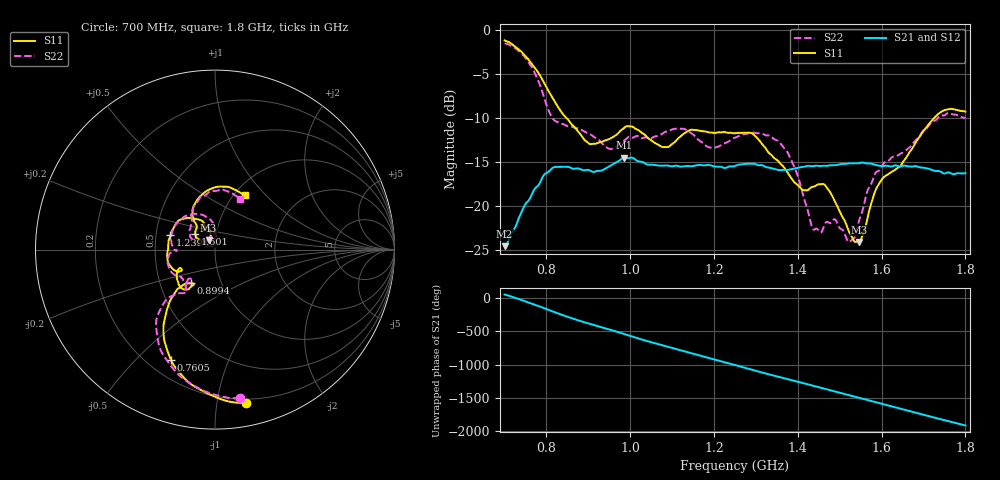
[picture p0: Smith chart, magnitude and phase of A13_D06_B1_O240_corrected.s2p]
! Created with skrf 1.9.0 (http://scikit-rf.org).
# Hz S RI R 50.0
!freq ReS11 ImS11 ReS21 ImS21 ReS12 ImS12 ReS22 ImS22
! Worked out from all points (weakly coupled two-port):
!   1601 points, 700 MHz to 1.8 GHz, reference 50 ohm
!   highest |S21| = -14.50 dB at 986 MHz (marker M1); lowest = -24.6 dB at 700 MHz (marker M2)
!   lowest |S11| = -24.1 dB at 1.546 GHz (marker M3), VSWR 1.13, Z = 46.3 + j4.71 ohm
!   |S11| at or under -10 dB: 848.1 MHz to 1.725 GHz (877.3 MHz wide, 68.2 % of centre)
!   |S22| runs from -24.1 to -1.5 dB; largest |S21 - S12| = 0.0034
!   S11 on the Smith chart (normalised r, x): 700 MHz: 0.17, -1.21; 760.5 MHz: 0.29, -0.64; 899.4 MHz: 0.72, -0.28; 1.239 GHz: 0.60, +0.10; 1.601 GHz: 0.79, +0.14; 1.8 GHz: 1.12, +0.77
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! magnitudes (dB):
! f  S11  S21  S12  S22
! 700 MHz  -1.2  -24.6  -24.4  -1.5
! 760.5 MHz  -3.6  -19.1  -19.0  -3.9
! 815.5 MHz  -7.8  -15.6  -15.7  -10.1
! 883.6 MHz  -12.0  -15.9  -15.8  -11.3
! 899.4 MHz  -12.8  -15.9  -15.9  -11.7
! 950.9 MHz  -12.4  -15.5  -15.5  -13.5
! 986 MHz  -11.1  -14.5  -14.6  -12.6
! 1.067 GHz  -13.1  -15.4  -15.4  -12.0
! 1.239 GHz  -11.7  -15.5  -15.6  -12.5
! 1.25 GHz  -11.7  -15.5  -15.4  -12.2
! 1.293 GHz  -11.8  -15.2  -15.2  -11.6
! 1.357 GHz  -15.1  -15.9  -15.9  -12.8
! 1.395 GHz  -17.5  -15.7  -15.7  -16.0
! 1.434 GHz  -17.8  -15.5  -15.4  -22.4
! 1.467 GHz  -17.8  -15.4  -15.4  -21.9
! 1.489 GHz  -19.5  -15.4  -15.3  -21.6
! 1.524 GHz  -23.1  -15.2  -15.1  -24.1
! 1.546 GHz  -24.1  -15.1  -15.1  -21.6
! 1.601 GHz  -17.0  -15.5  -15.4  -15.5
! 1.617 GHz  -16.3  -15.5  -15.4  -14.9
! 1.735 GHz  -9.5  -16.0  -16.1  -9.9
! 1.8 GHz  -9.3  -16.3  -16.3  -10.0
